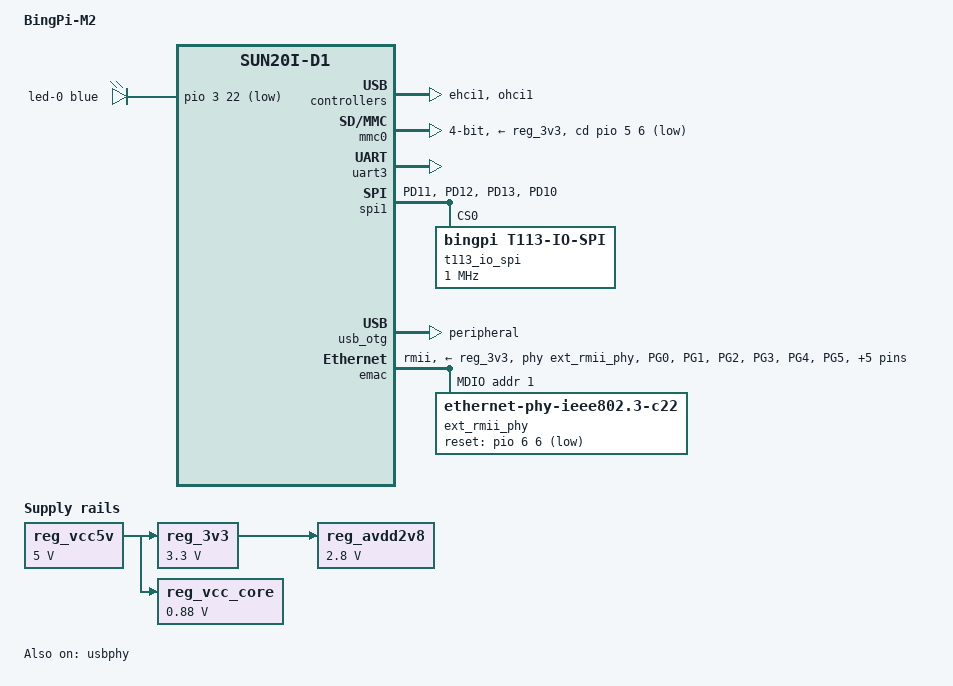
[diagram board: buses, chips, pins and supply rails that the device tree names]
// SPDX-License-Identifier: (GPL-2.0+ OR MIT)
// Copyright (C) 2022 Arm Ltd.
/*
 * Common peripherals and configurations for MangoPi MQ-R boards.
 * Modified for BingPi-M2 Ethernet support.
 */

/dts-v1/; 

#include "sun8i-t113s.dtsi"
#include <dt-bindings/gpio/gpio.h>
#include <dt-bindings/leds/common.h>
#include <dt-bindings/interrupt-controller/irq.h>

/ {
	model = "BingPi-M2";
	compatible = "allwinner,sun20i-d1", "allwinner,sun8i";

	aliases {
		serial3 = &uart3;
		spi1 = &spi1;
		ethernet0 = &emac;  /* 添加网口别名 */
	};

	chosen {
		stdout-path = "serial5:115200n8";
		bootargs = "mem=128M cma=64M root=/dev/mmcblk0p2 rw init=/sbin/init rootwait console=tty0 console=ttyS3,115200 earlyprintk=sunxi-uart,0x02500c00";
	};

	leds {
		compatible = "gpio-leds";

		led-0 {
			color = <LED_COLOR_ID_BLUE>;
			function = LED_FUNCTION_STATUS;
			gpios = <&pio 3 22 GPIO_ACTIVE_LOW>; /* PD22 */
		};
	};

	/* board wide 5V supply directly from the USB-C socket */
	reg_vcc5v: regulator-5v {
		compatible = "regulator-fixed";
		regulator-name = "vcc-5v";
		regulator-min-microvolt = <5000000>;
		regulator-max-microvolt = <5000000>;
		regulator-always-on;
	};

	/* SY8008 DC/DC regulator on the board */
	reg_3v3: regulator-3v3 {
		compatible = "regulator-fixed";
		regulator-name = "vcc-3v3";
		regulator-min-microvolt = <3300000>;
		regulator-max-microvolt = <3300000>;
		vin-supply = <&reg_vcc5v>;
	};

	/* SY8008 DC/DC regulator on the board, also supplying VDD-SYS */
	reg_vcc_core: regulator-core {
		compatible = "regulator-fixed";
		regulator-name = "vcc-core";
		regulator-min-microvolt = <880000>;
		regulator-max-microvolt = <880000>;
		vin-supply = <&reg_vcc5v>;
	};

	/* XC6206 LDO on the board */
	reg_avdd2v8: regulator-avdd {
		compatible = "regulator-fixed";
		regulator-name = "avdd2v8";
		regulator-min-microvolt = <2800000>;
		regulator-max-microvolt = <2800000>;
		vin-supply = <&reg_3v3>;
	};
};

&cpu0 {
	cpu-supply = <&reg_vcc_core>;
};

&cpu1 {
	cpu-supply = <&reg_vcc_core>;
};

&dcxo {
	clock-frequency = <24000000>;
};

&ehci1 {
	status = "okay";
};

&mmc0 {
	pinctrl-0 = <&mmc0_pins>;
	pinctrl-names = "default";
	vmmc-supply = <&reg_3v3>;
	cd-gpios = <&pio 5 6 GPIO_ACTIVE_LOW>;
	disable-wp;
	bus-width = <4>;
	status = "okay";
};

&ohci1 {
	status = "okay";
};

&pio {
	vcc-pb-supply = <&reg_3v3>;
	vcc-pd-supply = <&reg_3v3>;
	vcc-pe-supply = <&reg_avdd2v8>;
	vcc-pf-supply = <&reg_3v3>;
	vcc-pg-supply = <&reg_3v3>;

	/* --- 新增：网口引脚定义 --- */
	gmac_pins: gmac-pins {
		pins = "PG0", "PG1", "PG2", "PG3", "PG4", "PG5",
		       "PG11", "PG12", "PG13", "PG14", "PG15";
		function = "emac";
		drive-strength = <10>;
	};

	spi1_pins: spi1-pins {
		pins = "PD11", "PD12", "PD13";
		function = "spi1";
		drive-strength = <10>;
	};

	spi1_cs_pin: spi1-cs-pin {
		pins = "PD10";
		function = "spi1";
		drive-strength = <10>;
		bias-pull-up;
	};
};

&uart3 {
	pinctrl-names = "default";
	pinctrl-0 = <&uart3_pb_pins>;
	status = "okay";
};

&spi1 {
	pinctrl-names = "default";
	pinctrl-0 = <&spi1_pins &spi1_cs_pin>;
	status = "okay";

	t113_io_spi@0 {
		compatible = "bingpi,t113-io-spi";
		reg = <0>;
		spi-max-frequency = <1000000>;
	};
};

/* The USB-C socket has its CC pins pulled to GND, so is hardwired as a UFP. */
&usb_otg {
	dr_mode = "peripheral";
	status = "okay";
};

&usbphy {
	usb1_vbus-supply = <&reg_vcc5v>;
	status = "okay";
};

/* --- 新增：Ethernet MAC 控制器 --- */
&emac {
	pinctrl-0 = <&gmac_pins>;
	pinctrl-names = "default";
	phy-handle = <&ext_rmii_phy>;
	phy-mode = "rmii";
	phy-supply = <&reg_3v3>;
	status = "okay";

	mdio {
		#address-cells = <1>;
		#size-cells = <0>;

		ext_rmii_phy: ethernet-phy@1 {
			compatible = "ethernet-phy-ieee802.3-c22";
			/* PHY地址，一般是1，如果不行请尝试改回0 */
			reg = <1>;
			
			/* 复位引脚: PG6 (Bank 6, Pin 6), 低电平有效 */
			reset-gpios = <&pio 6 6 GPIO_ACTIVE_LOW>; 
			reset-assert-us = <10000>;
			reset-deassert-us = <100000>;
		};
	};
};
